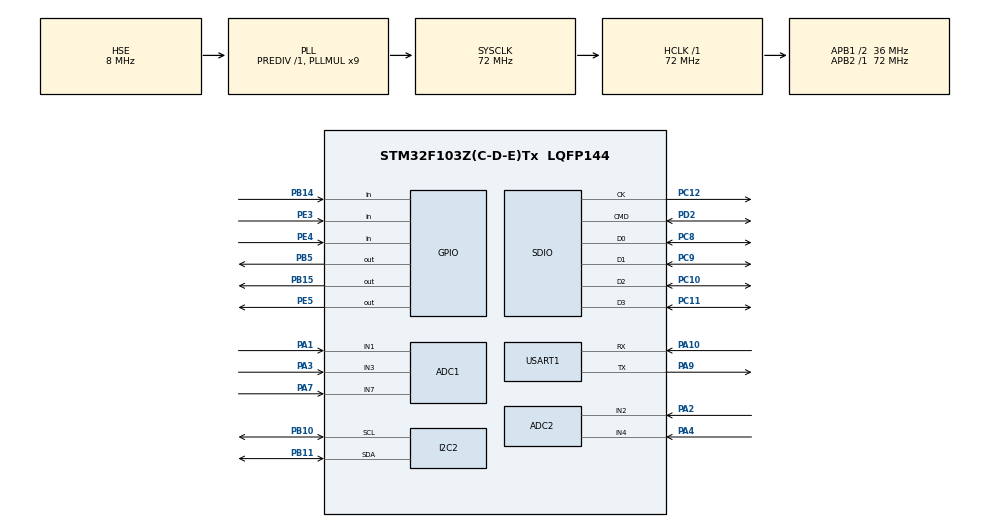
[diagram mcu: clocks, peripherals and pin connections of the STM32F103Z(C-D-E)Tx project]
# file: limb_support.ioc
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ADC1.Channel-1\#ChannelRegularConversion=ADC_CHANNEL_1
ADC1.ContinuousConvMode=DISABLE
ADC1.NbrOfConversion=1
ADC1.NbrOfConversionFlag=1
ADC1.Rank-1\#ChannelRegularConversion=1
ADC1.SamplingTime-1\#ChannelRegularConversion=ADC_SAMPLETIME_1CYCLE_5
ADC1.master=1
ADC2.Channel-0\#ChannelRegularConversion=ADC_CHANNEL_2
ADC2.NbrOfConversionFlag=1
ADC2.Rank-0\#ChannelRegularConversion=1
ADC2.SamplingTime-0\#ChannelRegularConversion=ADC_SAMPLETIME_1CYCLE_5
Dma.Request0=SDIO
Dma.SDIO.0.Direction=DMA_PERIPH_TO_MEMORY
Dma.SDIO.0.Instance=DMA2_Channel4
Dma.SDIO.0.MemDataAlignment=DMA_MDATAALIGN_WORD
Dma.SDIO.0.MemInc=DMA_MINC_ENABLE
Dma.SDIO.0.Mode=DMA_NORMAL
Dma.SDIO.0.PeriphDataAlignment=DMA_PDATAALIGN_WORD
Dma.SDIO.0.PeriphInc=DMA_PINC_DISABLE
Dma.SDIO.0.Priority=DMA_PRIORITY_LOW
I2C2.I2C_Mode=I2C_Fast
Mcu.Family=STM32F1
Mcu.Name=STM32F103Z(C-D-E)Tx
Mcu.Package=LQFP144
NVIC.DMA2_Channel4_5_IRQn=true\:0\:0\:false\:false\:true\:false\:true
NVIC.PriorityGroup=NVIC_PRIORITYGROUP_4
NVIC.SDIO_IRQn=true\:0\:0\:false\:false\:true\:true\:true
NVIC.TIM4_IRQn=true\:0\:0\:false\:false\:true\:true\:true
NVIC.TIM6_IRQn=true\:0\:0\:false\:false\:true\:true\:true
OSC_IN.Mode=HSE-External-Oscillator
OSC_IN.Signal=RCC_OSC_IN
OSC_OUT.Mode=HSE-External-Oscillator
OSC_OUT.Signal=RCC_OSC_OUT
PA1.Signal=ADCx_IN1
PA10.Mode=Asynchronous
PA10.Signal=USART1_RX
PA13.Mode=Serial_Wire
PA13.Signal=SYS_JTMS-SWDIO
PA14.Mode=Serial_Wire
PA14.Signal=SYS_JTCK-SWCLK
PA2.Signal=ADCx_IN2
PA3.Signal=ADCx_IN3
PA4.Signal=ADCx_IN4
PA7.Signal=ADCx_IN7
PA9.Mode=Asynchronous
PA9.Signal=USART1_TX
PB10.Mode=I2C
PB10.Signal=I2C2_SCL
PB11.Mode=I2C
PB11.Signal=I2C2_SDA
PB14.Signal=GPIO_Input
PB15.Signal=GPIO_Output
PB5.GPIO_ModeDefaultOutputPP=GPIO_MODE_OUTPUT_OD
PB5.Signal=GPIO_Output
PC10.Mode=SD_4_bits_Wide_bus
PC10.Signal=SDIO_D2
PC11.Mode=SD_4_bits_Wide_bus
PC11.Signal=SDIO_D3
PC12.Mode=SD_4_bits_Wide_bus
PC12.Signal=SDIO_CK
PC8.Mode=SD_4_bits_Wide_bus
PC8.Signal=SDIO_D0
PC9.Mode=SD_4_bits_Wide_bus
PC9.Signal=SDIO_D1
PD2.Mode=SD_4_bits_Wide_bus
PD2.Signal=SDIO_CMD
PE3.GPIO_PuPd=GPIO_PULLUP
PE3.Signal=GPIO_Input
PE4.GPIO_PuPd=GPIO_PULLUP
PE4.Signal=GPIO_Input
PE5.GPIO_ModeDefaultOutputPP=GPIO_MODE_OUTPUT_OD
PE5.Signal=GPIO_Output
ProjectManager.HeapSize=0x200
ProjectManager.StackSize=0x400
ProjectManager.TargetToolchain=STM32CubeIDE
RCC.ADCPresc=RCC_ADCPCLK2_DIV6
RCC.AHBFreq_Value=72000000
RCC.APB1CLKDivider=RCC_HCLK_DIV2
RCC.APB1Freq_Value=36000000
RCC.APB1TimFreq_Value=72000000
RCC.APB2Freq_Value=72000000
RCC.APB2TimFreq_Value=72000000
RCC.HCLKFreq_Value=72000000
RCC.PLLMUL=RCC_PLL_MUL9
RCC.PLLSourceVirtual=RCC_PLLSOURCE_HSE
RCC.SYSCLKFreq_VALUE=72000000
RCC.SYSCLKSource=RCC_SYSCLKSOURCE_PLLCLK
RCC.USBFreq_Value=72000000
RTC.Date=11
RTC.Format=RTC_FORMAT_BIN
RTC.Month=RTC_MONTH_MARCH
SDIO.ClockBypass=SDIO_CLOCK_BYPASS_DISABLE
SDIO.ClockDiv=2
SDIO.HardwareFlowControl=SDIO_HARDWARE_FLOW_CONTROL_ENABLE
SH.ADCx_IN1.0=ADC1_IN1,IN1
SH.ADCx_IN2.0=ADC2_IN2,IN2
SH.ADCx_IN3.0=ADC1_IN3,IN3
SH.ADCx_IN4.0=ADC2_IN4,IN4
SH.ADCx_IN7.0=ADC1_IN7,IN7
TIM4.AutoReloadPreload=TIM_AUTORELOAD_PRELOAD_ENABLE
TIM4.Period=3000
TIM4.Prescaler=72
TIM6.AutoReloadPreload=TIM_AUTORELOAD_PRELOAD_ENABLE
TIM6.Period=25000
TIM6.Prescaler=720
USART1.VirtualMode=VM_ASYNC
VP_RTC_VS_RTC_Activate.Mode=RTC_Enabled
VP_RTC_VS_RTC_Calendar.Mode=RTC_Calendar
VP_TIM4_VS_ClockSourceINT.Mode=Internal
VP_TIM6_VS_ClockSourceINT.Mode=Enable_Timer
board=custom

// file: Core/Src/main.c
/* USER CODE BEGIN Header */
/**
  ******************************************************************************
  * @file           : main.c
  * @brief          : Main program body
  ******************************************************************************
  * @attention
  *
  * <h2><center>&copy; Copyright (c) 2023 STMicroelectronics.
  * All rights reserved.</center></h2>
  *
  * This software component is licensed by ST under BSD 3-Clause license,
  * the "License"; You may not use this file except in compliance with the
  * License. You may obtain a copy of the License at:
  *                        opensource.org/licenses/BSD-3-Clause
  *
  ******************************************************************************
  */
/* USER CODE END Header */
#include "main.h"

/* USER CODE BEGIN Includes */
#include "common.h"
#include "mpu.h"
#include "sd.h"
#include <stdio.h>
#include <string.h>
/* USER CODE END Includes */

/* USER CODE BEGIN PD */
#define SD_CARD_ENABLED 1
#define HUMAN_READABLE 1
// #define RAW_DATA_ONLY 1
/* USER CODE END PD */

ADC_HandleTypeDef hadc1;
ADC_HandleTypeDef hadc2;

I2C_HandleTypeDef hi2c2;

RTC_HandleTypeDef hrtc;

SD_HandleTypeDef hsd;
DMA_HandleTypeDef hdma_sdio;

TIM_HandleTypeDef htim4;
TIM_HandleTypeDef htim6;

UART_HandleTypeDef huart1;

/* USER CODE BEGIN PV */
uint8_t __attribute__ ((aligned)) write_buf[2][512];
uint32_t sd_block_address = 0;
#if defined(HUMAN_READABLE)
char tmp_buf[112];
SD_PAGE *page_buf = (SD_PAGE*)write_buf[0];
uint16_t adc_result[4];
XYZ_INT16T xyz_accel_u, xyz_accel_l, xyz_gyro_u, xyz_gyro_l;
RTC_TimeTypeDef rtc_time = {0};
#elif defined(RAW_DATA_ONLY)
SD_PAGE_RAW *page_buf = (SD_PAGE_RAW*)write_buf[0];
#endif
// For speed_test
uint16_t speed_test_timer6_counter[8];
uint16_t speed_test_index = 0;
uint32_t speed_test_total = 0;

/* USER CODE END PV */

void SystemClock_Config(void);
static void MX_GPIO_Init(void);
static void MX_ADC1_Init(void);
static void MX_I2C2_Init(void);
static void MX_USART1_UART_Init(void);
static void MX_ADC2_Init(void);
static void MX_DMA_Init(void);
static void MX_SDIO_SD_Init(void);
static void MX_RTC_Init(void);
static void MX_TIM4_Init(void);
static void MX_TIM6_Init(void);
/* USER CODE BEGIN PFP */
static void user_init();
/* USER CODE END PFP */

int main(void)
{

  /* MCU Configuration--------------------------------------------------------*/

  /* Reset of all peripherals, Initializes the Flash interface and the Systick. */
  HAL_Init();

  /* Configure the system clock */
  SystemClock_Config();

  /* Initialize all configured peripherals */
  MX_GPIO_Init();
  MX_ADC1_Init();
  MX_I2C2_Init();
  MX_USART1_UART_Init();
  MX_ADC2_Init();
  MX_DMA_Init();
  MX_RTC_Init();
  MX_TIM4_Init();
  MX_TIM6_Init();
  /* USER CODE BEGIN 2 */
  HAL_TIM_Base_Start_IT(&htim4);
  HAL_TIM_Base_Start_IT(&htim6);
  MX_SDIO_SD_Init();
  // Calibrate The ADC On Power-Up For Better Accuracy
  HAL_ADCEx_Calibration_Start(&hadc1);

  /* USER CODE END 2 */

  /* Infinite loop */
  /* USER CODE BEGIN WHILE */
  user_init();
  set_state(IDLE);
  while (1)
  {
    write_LED0(read_ext_sw()); // A test to make sure code is running
    if (ext_key_start() != 1) {
      set_state(IDLE);
    } else {
      set_state(COLLECTING_DATA);
    /* USER CODE END WHILE */

    /* USER CODE BEGIN 3 */
#if defined(HUMAN_READABLE)
      page_buf = (SD_PAGE*)write_buf[sd_block_address & 0x01];

      for (uint8_t record_index = 0; record_index <=3; record_index++) {
        wait_for_counter_changed();
        speed_test_timer6_counter[0] = read_TIM6_counter();
        srat_ADC(&hadc1, ADC_CHANNEL_1);	// PA1
        srat_ADC(&hadc2, ADC_CHANNEL_2);	// PA2
        adc_result[0] = read_ADC(&hadc1);
        adc_result[1] = read_ADC(&hadc2);
        srat_ADC(&hadc1, ADC_CHANNEL_3);	// PA3
        srat_ADC(&hadc2, ADC_CHANNEL_4);	// PA4
        adc_result[2] = read_ADC(&hadc1);
        adc_result[3] = read_ADC(&hadc2);
        speed_test_timer6_counter[1] = read_TIM6_counter();
        // srat_ADC(&hadc1, ADC_CHANNEL_7);	// PA7
        // uint16_t adc_PA7 = read_ADC(&hadc1);
        mpu_get_accel_buf(&hi2c2, IMU_U_I2C_ADDR_SHIFTED, &xyz_accel_u);
        mpu_get_gyro_buf(&hi2c2, IMU_U_I2C_ADDR_SHIFTED, &xyz_gyro_u);
        mpu_get_accel_buf(&hi2c2, IMU_L_I2C_ADDR_SHIFTED, &xyz_accel_l);
        mpu_get_gyro_buf(&hi2c2, IMU_L_I2C_ADDR_SHIFTED, &xyz_gyro_l);
        speed_test_timer6_counter[2] = read_TIM6_counter();

        // gyro lower z ------------------------------------------------------------------
        // gyro lower y ---------------------------------------------------------------   |
        // gyro lower x ------------------------------------------------------------   |  |
        // accel lower z --------------------------------------------------------   |  |  |
        // accel lower y -----------------------------------------------------   |  |  |  |
        // accel lower x --------------------------------------------------   |  |  |  |  |
        // gyro upper z ------------------------------------------------   |  |  |  |  |  |
        // gyro upper y ---------------------------------------------   |  |  |  |  |  |  |
        // gyro upper x ------------------------------------------   |  |  |  |  |  |  |  |
        // accel upper z --------------------------------------   |  |  |  |  |  |  |  |  |
        // accel upper y -----------------------------------   |  |  |  |  |  |  |  |  |  |
        // accel upper x --------------------------------   |  |  |  |  |  |  |  |  |  |  |
        //                                  a1 a2 a3 a4  |  |  |  |  |  |  |  |  |  |  |  |
        snprintf(tmp_buf, sizeof(tmp_buf), "%d,%d,%d,%d,%d,%d,%d,%d,%d,%d,%d,%d,%d,%d,%d,%d,",
            adc_result[0], adc_result[1], adc_result[2], adc_result[3],
            xyz_accel_u.x, xyz_accel_u.y, xyz_accel_u.z, xyz_gyro_u.x, xyz_gyro_u.y, xyz_gyro_u.z,
            xyz_accel_l.x, xyz_accel_l.y, xyz_accel_l.z, xyz_gyro_l.x, xyz_gyro_l.y, xyz_gyro_l.z);
        HAL_RTC_GetTime(&hrtc, &rtc_time, RTC_FORMAT_BIN);
        sd_page_print(page_buf, record_index, tmp_buf, rtc_time.Seconds);
        speed_test_timer6_counter[3] = read_TIM6_counter();
      }
#ifdef SD_CARD_ENABLED
      speed_test_timer6_counter[4] = read_TIM6_counter();
      wait_for_sdio_state(&hsd, HAL_SD_STATE_READY);
      HAL_StatusTypeDef sd_op_res = HAL_SD_WriteBlocks_DMA(&hsd, (uint8_t *)page_buf, sd_block_address++, 1);
      wait_for_sd_card_state(&hsd, HAL_SD_CARD_TRANSFER);
      speed_test_timer6_counter[5] = read_TIM6_counter();
      if (speed_test_timer6_counter[5] > speed_test_timer6_counter[0]) {
        speed_test_timer6_counter[6] = speed_test_timer6_counter[5] - speed_test_timer6_counter[0];
      } else {
        speed_test_timer6_counter[6] = 25000 + speed_test_timer6_counter[5] - speed_test_timer6_counter[0];
      }
      speed_test_total += speed_test_timer6_counter[6];
      ++speed_test_index;
      if (speed_test_index >= 100) {
        speed_test_index = 0;
        speed_test_total = 0;
      }
#endif
#elif defined(RAW_DATA_ONLY)
      page_buf = (SD_PAGE_RAW*)write_buf[sd_block_address & 0x01];

      for (uint8_t record_index = 0; record_index < 15; record_index++) {
        uint16_t counter_uint16 = wait_for_counter_changed();
        speed_test_timer6_counter[0] = read_TIM6_counter();
        page_buf->data_raw_buffer[record_index].index = counter_uint16;
        srat_ADC(&hadc1, ADC_CHANNEL_1);  // PA1
        srat_ADC(&hadc2, ADC_CHANNEL_2);  // PA2
        page_buf->data_raw_buffer[record_index].ad[0] = read_ADC(&hadc1);
        page_buf->data_raw_buffer[record_index].ad[1] = read_ADC(&hadc2);
        srat_ADC(&hadc1, ADC_CHANNEL_3);  // PA3
        srat_ADC(&hadc2, ADC_CHANNEL_4);  // PA4
        page_buf->data_raw_buffer[record_index].ad[2] = read_ADC(&hadc1);
        page_buf->data_raw_buffer[record_index].ad[3] = read_ADC(&hadc2);
        speed_test_timer6_counter[1] = read_TIM6_counter();
        // srat_ADC(&hadc1, ADC_CHANNEL_7); // PA7
        // uint16_t adc_PA7 = read_ADC(&hadc1);
        i2c_read_regs(&hi2c2, IMU_U_I2C_ADDR_SHIFTED, MPU6XXX_RA_ACCEL_XOUT_H, 6, page_buf->data_raw_buffer[record_index].accel_u);
        i2c_read_regs(&hi2c2, IMU_U_I2C_ADDR_SHIFTED, MPU6XXX_RA_GYRO_XOUT_H, 6, page_buf->data_raw_buffer[record_index].gyro_u);
        i2c_read_regs(&hi2c2, IMU_L_I2C_ADDR_SHIFTED, MPU6XXX_RA_ACCEL_XOUT_H, 6, page_buf->data_raw_buffer[record_index].accel_l);
        i2c_read_regs(&hi2c2, IMU_L_I2C_ADDR_SHIFTED, MPU6XXX_RA_GYRO_XOUT_H, 6, page_buf->data_raw_buffer[record_index].gyro_l);
        speed_test_timer6_counter[2] = read_TIM6_counter();
      }
#ifdef SD_CARD_ENABLED
      speed_test_timer6_counter[4] = read_TIM6_counter();
      wait_for_sdio_state(&hsd, HAL_SD_STATE_READY);
      HAL_StatusTypeDef sd_op_res = HAL_SD_WriteBlocks_DMA(&hsd, (uint8_t *)page_buf, sd_block_address++, 1);
      wait_for_sd_card_state(&hsd, HAL_SD_CARD_TRANSFER);
      speed_test_timer6_counter[5] = read_TIM6_counter();
      if (speed_test_timer6_counter[5] > speed_test_timer6_counter[0]) {
        speed_test_timer6_counter[6] = speed_test_timer6_counter[5] - speed_test_timer6_counter[0];
      } else {
        speed_test_timer6_counter[6] = 25000 + speed_test_timer6_counter[5] - speed_test_timer6_counter[0];
      }
      speed_test_total += speed_test_timer6_counter[6];
      ++speed_test_index;
      if (speed_test_index >= 100) {
        speed_test_index = 0;
        speed_test_total = 0;
      }
#endif
#endif // HUMAN_READABLE / RAW_DATA_ONLY
    }
  }
  /* USER CODE END 3 */
}

void SystemClock_Config(void)
{
  RCC_OscInitTypeDef RCC_OscInitStruct = {0};
  RCC_ClkInitTypeDef RCC_ClkInitStruct = {0};
  RCC_PeriphCLKInitTypeDef PeriphClkInit = {0};

  /** Initializes the RCC Oscillators according to the specified parameters
  * in the RCC_OscInitTypeDef structure.
  */
  RCC_OscInitStruct.OscillatorType = RCC_OSCILLATORTYPE_LSI|RCC_OSCILLATORTYPE_HSE;
  RCC_OscInitStruct.HSEState = RCC_HSE_ON;
  RCC_OscInitStruct.HSEPredivValue = RCC_HSE_PREDIV_DIV1;
  RCC_OscInitStruct.HSIState = RCC_HSI_ON;
  RCC_OscInitStruct.LSIState = RCC_LSI_ON;
  RCC_OscInitStruct.PLL.PLLState = RCC_PLL_ON;
  RCC_OscInitStruct.PLL.PLLSource = RCC_PLLSOURCE_HSE;
  RCC_OscInitStruct.PLL.PLLMUL = RCC_PLL_MUL9;
  if (HAL_RCC_OscConfig(&RCC_OscInitStruct) != HAL_OK)
  {
    Error_Handler();
  }
  /** Initializes the CPU, AHB and APB buses clocks
  */
  RCC_ClkInitStruct.ClockType = RCC_CLOCKTYPE_HCLK|RCC_CLOCKTYPE_SYSCLK
                              |RCC_CLOCKTYPE_PCLK1|RCC_CLOCKTYPE_PCLK2;
  RCC_ClkInitStruct.SYSCLKSource = RCC_SYSCLKSOURCE_PLLCLK;
  RCC_ClkInitStruct.AHBCLKDivider = RCC_SYSCLK_DIV1;
  RCC_ClkInitStruct.APB1CLKDivider = RCC_HCLK_DIV2;
  RCC_ClkInitStruct.APB2CLKDivider = RCC_HCLK_DIV1;

  if (HAL_RCC_ClockConfig(&RCC_ClkInitStruct, FLASH_LATENCY_2) != HAL_OK)
  {
    Error_Handler();
  }
  PeriphClkInit.PeriphClockSelection = RCC_PERIPHCLK_RTC|RCC_PERIPHCLK_ADC;
  PeriphClkInit.RTCClockSelection = RCC_RTCCLKSOURCE_LSI;
  PeriphClkInit.AdcClockSelection = RCC_ADCPCLK2_DIV6;
  if (HAL_RCCEx_PeriphCLKConfig(&PeriphClkInit) != HAL_OK)
  {
    Error_Handler();
  }
}

static void MX_ADC1_Init(void)
{

  ADC_ChannelConfTypeDef sConfig = {0};

  /** Common config
  */
  hadc1.Instance = ADC1;
  hadc1.Init.ScanConvMode = ADC_SCAN_DISABLE;
  hadc1.Init.ContinuousConvMode = DISABLE;
  hadc1.Init.DiscontinuousConvMode = DISABLE;
  hadc1.Init.ExternalTrigConv = ADC_SOFTWARE_START;
  hadc1.Init.DataAlign = ADC_DATAALIGN_RIGHT;
  hadc1.Init.NbrOfConversion = 1;
  if (HAL_ADC_Init(&hadc1) != HAL_OK)
  {
    Error_Handler();
  }
  /** Configure Regular Channel
  */
  sConfig.Channel = ADC_CHANNEL_1;
  sConfig.Rank = ADC_REGULAR_RANK_1;
  sConfig.SamplingTime = ADC_SAMPLETIME_1CYCLE_5;
  if (HAL_ADC_ConfigChannel(&hadc1, &sConfig) != HAL_OK)
  {
    Error_Handler();
  }

}

static void MX_ADC2_Init(void)
{

  ADC_ChannelConfTypeDef sConfig = {0};

  /** Common config
  */
  hadc2.Instance = ADC2;
  hadc2.Init.ScanConvMode = ADC_SCAN_DISABLE;
  hadc2.Init.ContinuousConvMode = DISABLE;
  hadc2.Init.DiscontinuousConvMode = DISABLE;
  hadc2.Init.ExternalTrigConv = ADC_SOFTWARE_START;
  hadc2.Init.DataAlign = ADC_DATAALIGN_RIGHT;
  hadc2.Init.NbrOfConversion = 1;
  if (HAL_ADC_Init(&hadc2) != HAL_OK)
  {
    Error_Handler();
  }
  /** Configure Regular Channel
  */
  sConfig.Channel = ADC_CHANNEL_2;
  sConfig.Rank = ADC_REGULAR_RANK_1;
  sConfig.SamplingTime = ADC_SAMPLETIME_1CYCLE_5;
  if (HAL_ADC_ConfigChannel(&hadc2, &sConfig) != HAL_OK)
  {
    Error_Handler();
  }

}

static void MX_I2C2_Init(void)
{

  hi2c2.Instance = I2C2;
  hi2c2.Init.ClockSpeed = 400000;
  hi2c2.Init.DutyCycle = I2C_DUTYCYCLE_2;
  hi2c2.Init.OwnAddress1 = 0;
  hi2c2.Init.AddressingMode = I2C_ADDRESSINGMODE_7BIT;
  hi2c2.Init.DualAddressMode = I2C_DUALADDRESS_DISABLE;
  hi2c2.Init.OwnAddress2 = 0;
  hi2c2.Init.GeneralCallMode = I2C_GENERALCALL_DISABLE;
  hi2c2.Init.NoStretchMode = I2C_NOSTRETCH_DISABLE;
  if (HAL_I2C_Init(&hi2c2) != HAL_OK)
  {
    Error_Handler();
  }

}

static void MX_RTC_Init(void)
{

  RTC_TimeTypeDef sTime = {0};
  RTC_DateTypeDef DateToUpdate = {0};

  /** Initialize RTC Only
  */
  hrtc.Instance = RTC;
  hrtc.Init.AsynchPrediv = RTC_AUTO_1_SECOND;
  hrtc.Init.OutPut = RTC_OUTPUTSOURCE_ALARM;
  if (HAL_RTC_Init(&hrtc) != HAL_OK)
  {
    Error_Handler();
  }

  /** Initialize RTC and set the Time and Date
  */
  sTime.Hours = 0;
  sTime.Minutes = 0;
  sTime.Seconds = 0;

  if (HAL_RTC_SetTime(&hrtc, &sTime, RTC_FORMAT_BIN) != HAL_OK)
  {
    Error_Handler();
  }
  DateToUpdate.WeekDay = RTC_WEEKDAY_MONDAY;
  DateToUpdate.Month = RTC_MONTH_MARCH;
  DateToUpdate.Date = 11;
  DateToUpdate.Year = 0;

  if (HAL_RTC_SetDate(&hrtc, &DateToUpdate, RTC_FORMAT_BIN) != HAL_OK)
  {
    Error_Handler();
  }

}

static void MX_SDIO_SD_Init(void)
{

  /* USER CODE BEGIN SDIO_Init 1 */
#ifdef SD_CARD_ENABLED
  STATE old_state = get_state();
  set_state(INIT_SD_CARD);
  /* USER CODE END SDIO_Init 1 */
  hsd.Instance = SDIO;
  hsd.Init.ClockEdge = SDIO_CLOCK_EDGE_RISING;
  hsd.Init.ClockBypass = SDIO_CLOCK_BYPASS_DISABLE;
  hsd.Init.ClockPowerSave = SDIO_CLOCK_POWER_SAVE_DISABLE;
  hsd.Init.BusWide = SDIO_BUS_WIDE_1B;
  hsd.Init.HardwareFlowControl = SDIO_HARDWARE_FLOW_CONTROL_ENABLE;
  hsd.Init.ClockDiv = 2;
  if (HAL_SD_Init(&hsd) != HAL_OK)
  {
    Error_Handler();
  }
  if (HAL_SD_ConfigWideBusOperation(&hsd, SDIO_BUS_WIDE_4B) != HAL_OK)
  {
    Error_Handler();
  }
  /* USER CODE BEGIN SDIO_Init 2 */
  set_state(old_state);
#endif
  /* USER CODE END SDIO_Init 2 */

}

static void MX_TIM4_Init(void)
{

  TIM_ClockConfigTypeDef sClockSourceConfig = {0};
  TIM_MasterConfigTypeDef sMasterConfig = {0};

  htim4.Instance = TIM4;
  htim4.Init.Prescaler = 72;
  htim4.Init.CounterMode = TIM_COUNTERMODE_UP;
  htim4.Init.Period = 3000;
  htim4.Init.ClockDivision = TIM_CLOCKDIVISION_DIV1;
  htim4.Init.AutoReloadPreload = TIM_AUTORELOAD_PRELOAD_ENABLE;
  if (HAL_TIM_Base_Init(&htim4) != HAL_OK)
  {
    Error_Handler();
  }
  sClockSourceConfig.ClockSource = TIM_CLOCKSOURCE_INTERNAL;
  if (HAL_TIM_ConfigClockSource(&htim4, &sClockSourceConfig) != HAL_OK)
  {
    Error_Handler();
  }
  sMasterConfig.MasterOutputTrigger = TIM_TRGO_RESET;
  sMasterConfig.MasterSlaveMode = TIM_MASTERSLAVEMODE_DISABLE;
  if (HAL_TIMEx_MasterConfigSynchronization(&htim4, &sMasterConfig) != HAL_OK)
  {
    Error_Handler();
  }

}

static void MX_TIM6_Init(void)
{

  TIM_MasterConfigTypeDef sMasterConfig = {0};

  htim6.Instance = TIM6;
  htim6.Init.Prescaler = 720;
  htim6.Init.CounterMode = TIM_COUNTERMODE_UP;
  htim6.Init.Period = 25000;
  htim6.Init.AutoReloadPreload = TIM_AUTORELOAD_PRELOAD_ENABLE;
  if (HAL_TIM_Base_Init(&htim6) != HAL_OK)
  {
    Error_Handler();
  }
  sMasterConfig.MasterOutputTrigger = TIM_TRGO_RESET;
  sMasterConfig.MasterSlaveMode = TIM_MASTERSLAVEMODE_DISABLE;
  if (HAL_TIMEx_MasterConfigSynchronization(&htim6, &sMasterConfig) != HAL_OK)
  {
    Error_Handler();
  }

}

static void MX_USART1_UART_Init(void)
{

  huart1.Instance = USART1;
  huart1.Init.BaudRate = 115200;
  huart1.Init.WordLength = UART_WORDLENGTH_8B;
  huart1.Init.StopBits = UART_STOPBITS_1;
  huart1.Init.Parity = UART_PARITY_NONE;
  huart1.Init.Mode = UART_MODE_TX_RX;
  huart1.Init.HwFlowCtl = UART_HWCONTROL_NONE;
  huart1.Init.OverSampling = UART_OVERSAMPLING_16;
  if (HAL_UART_Init(&huart1) != HAL_OK)
  {
    Error_Handler();
  }

}

static void MX_DMA_Init(void)
{

  /* DMA controller clock enable */
  __HAL_RCC_DMA2_CLK_ENABLE();

  /* DMA interrupt init */
  /* DMA2_Channel4_5_IRQn interrupt configuration */
  HAL_NVIC_SetPriority(DMA2_Channel4_5_IRQn, 0, 0);
  HAL_NVIC_EnableIRQ(DMA2_Channel4_5_IRQn);

}

static void MX_GPIO_Init(void)
{
  GPIO_InitTypeDef GPIO_InitStruct = {0};

  /* GPIO Ports Clock Enable */
  __HAL_RCC_GPIOE_CLK_ENABLE();
  __HAL_RCC_GPIOA_CLK_ENABLE();
  __HAL_RCC_GPIOB_CLK_ENABLE();
  __HAL_RCC_GPIOC_CLK_ENABLE();
  __HAL_RCC_GPIOD_CLK_ENABLE();

  /*Configure GPIO pin Output Level */
  HAL_GPIO_WritePin(GPIOE, GPIO_PIN_5, GPIO_PIN_RESET);

  /*Configure GPIO pin Output Level */
  HAL_GPIO_WritePin(GPIOB, GPIO_PIN_15|GPIO_PIN_5, GPIO_PIN_RESET);

  /*Configure GPIO pins : PE3 PE4 */
  GPIO_InitStruct.Pin = GPIO_PIN_3|GPIO_PIN_4;
  GPIO_InitStruct.Mode = GPIO_MODE_INPUT;
  GPIO_InitStruct.Pull = GPIO_PULLUP;
  HAL_GPIO_Init(GPIOE, &GPIO_InitStruct);

  /*Configure GPIO pin : PE5 */
  GPIO_InitStruct.Pin = GPIO_PIN_5;
  GPIO_InitStruct.Mode = GPIO_MODE_OUTPUT_OD;
  GPIO_InitStruct.Pull = GPIO_NOPULL;
  GPIO_InitStruct.Speed = GPIO_SPEED_FREQ_LOW;
  HAL_GPIO_Init(GPIOE, &GPIO_InitStruct);

  /*Configure GPIO pin : PB14 */
  GPIO_InitStruct.Pin = GPIO_PIN_14;
  GPIO_InitStruct.Mode = GPIO_MODE_INPUT;
  GPIO_InitStruct.Pull = GPIO_NOPULL;
  HAL_GPIO_Init(GPIOB, &GPIO_InitStruct);

  /*Configure GPIO pin : PB15 */
  GPIO_InitStruct.Pin = GPIO_PIN_15;
  GPIO_InitStruct.Mode = GPIO_MODE_OUTPUT_PP;
  GPIO_InitStruct.Pull = GPIO_NOPULL;
  GPIO_InitStruct.Speed = GPIO_SPEED_FREQ_LOW;
  HAL_GPIO_Init(GPIOB, &GPIO_InitStruct);

  /*Configure GPIO pin : PB5 */
  GPIO_InitStruct.Pin = GPIO_PIN_5;
  GPIO_InitStruct.Mode = GPIO_MODE_OUTPUT_OD;
  GPIO_InitStruct.Pull = GPIO_NOPULL;
  GPIO_InitStruct.Speed = GPIO_SPEED_FREQ_LOW;
  HAL_GPIO_Init(GPIOB, &GPIO_InitStruct);

}

/* USER CODE BEGIN 4 */
void user_init() {
#if defined(HUMAN_READABLE)
  sd_page_print(page_buf, 0, "STM32 Board init done.", 0);
  uint8_t reg_u = 0xFF, reg_l = 0xFF;;
  mpu_init(&hi2c2, IMU_U_I2C_ADDR_SHIFTED, &reg_u);
  mpu_init(&hi2c2, IMU_L_I2C_ADDR_SHIFTED, &reg_l);
  mpu_sen_init();
  sd_page_print(page_buf, 1, "MPU6050 init done.", 0);
#ifdef SD_CARD_ENABLED
  HAL_SD_CardInfoTypeDef sd_card_info;
  HAL_StatusTypeDef sd_op_res = HAL_SD_GetCardInfo(&hsd, &sd_card_info);
  sd_op_res = HAL_SD_Erase(&hsd, 0, sd_card_info.BlockNbr - 1);
  wait_for_sd_card_state(&hsd, HAL_SD_CARD_TRANSFER);

  snprintf(tmp_buf, sizeof(tmp_buf), "SD Card block size %lu, block number %lu",
      sd_card_info.BlockSize, sd_card_info.BlockNbr);
  sd_page_print(page_buf, 2, tmp_buf, 0);
  const char *TABLE_HEADER = "ana_1,ana_2,ana_3,ana_4,acc1x,acc1y,acc1z,gyro1x,gyro1y,gyro1z,acc1x,acc1y,acc1z,gyro1x,gyro1y,gyro1z,";
  sd_page_print(page_buf, 3, TABLE_HEADER, 0);

  wait_for_sdio_state(&hsd, HAL_SD_STATE_READY);
  sd_op_res = HAL_SD_WriteBlocks_DMA(&hsd, (uint8_t *)page_buf, sd_block_address++, 1);
  wait_for_sd_card_state(&hsd, HAL_SD_CARD_TRANSFER);
#endif // SD_CARD_ENABLED//
#elif defined(RAW_DATA_ONLY)
  uint8_t reg_u = 0xFF, reg_l = 0xFF;;
  mpu_init(&hi2c2, IMU_U_I2C_ADDR_SHIFTED, &reg_u);
  mpu_init(&hi2c2, IMU_L_I2C_ADDR_SHIFTED, &reg_l);
  write_buf[0][510] = 0xFF;
  write_buf[0][511] = 0xFF;
  write_buf[1][510] = 0xFF;
  write_buf[1][511] = 0xFF;
#ifdef SD_CARD_ENABLED
  HAL_SD_CardInfoTypeDef sd_card_info;
  HAL_StatusTypeDef sd_op_res = HAL_SD_GetCardInfo(&hsd, &sd_card_info);
  sd_op_res = HAL_SD_Erase(&hsd, 0, sd_card_info.BlockNbr - 1);
  wait_for_sd_card_state(&hsd, HAL_SD_CARD_TRANSFER);

  snprintf((char *)page_buf, sizeof(SD_PAGE_RAW), "SD Card block size %lu, block number %lu",
      sd_card_info.BlockSize, sd_card_info.BlockNbr);

  wait_for_sdio_state(&hsd, HAL_SD_STATE_READY);
  sd_op_res = HAL_SD_WriteBlocks_DMA(&hsd, (uint8_t *)page_buf, sd_block_address++, 1);
  wait_for_sd_card_state(&hsd, HAL_SD_CARD_TRANSFER);
#endif // SD_CARD_ENABLED//
#endif // HUMAN_READABLE
}
/* USER CODE END 4 */

void Error_Handler(void)
{
  /* USER CODE BEGIN Error_Handler_Debug */
  /* User can add his own implementation to report the HAL error return state */
  if (get_state() != INIT_SD_CARD) {
    __disable_irq();
  }
  while (1)
  {
    ;
  }
  /* USER CODE END Error_Handler_Debug */
}

/************************ (C) COPYRIGHT STMicroelectronics *****END OF FILE****/
